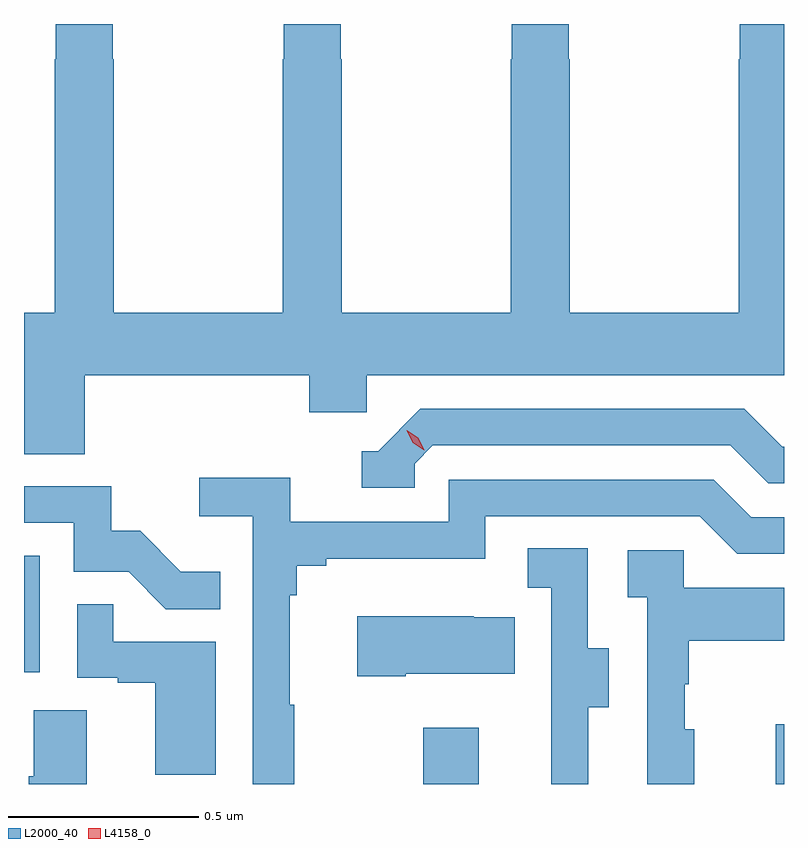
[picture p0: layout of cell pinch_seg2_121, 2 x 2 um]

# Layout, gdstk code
import gdstk
lib = gdstk.Library(unit=1e-6, precision=1e-09)
def R(c, l, rs):  # rectangles x0, y0, x1, y1
    for r in rs: c.add(gdstk.rectangle(r[:2], r[2:], *l))
def P(c, l, *ps):  # polygons
    for p in ps: c.add(gdstk.Polygon(p, *l))
L2000_40 = (2000, 40)
L4158_0 = (4158, 0)

pinch_seg2_121 = lib.new_cell('pinch_seg2_121')
R(pinch_seg2_121, L2000_40, [(1032.292,638.568,1032.439,638.716), (1033.22,638.568,1033.242,638.725), (1031.242,638.862,1031.284,639.169)])
P(pinch_seg2_121, L2000_40, [(1031.402,639.644),(1031.993,639.644),(1031.993,639.546),(1032.144,639.546),(1032.144,639.644),(1033.242,639.644),(1033.242,640.568),(1033.125,640.568),(1033.125,640.475),(1033.123,640.475),(1033.123,639.808),(1032.678,639.808),(1032.678,640.475),(1032.675,640.475),(1032.675,640.568),(1032.525,640.568),(1032.525,640.475),(1032.523,640.475),(1032.523,639.808),(1032.078,639.808),(1032.078,640.475),(1032.075,640.475),(1032.075,640.568),(1031.925,640.568),(1031.925,640.475),(1031.923,640.475),(1031.923,639.808),(1031.478,639.808),(1031.478,640.475),(1031.475,640.475),(1031.475,640.568),(1031.325,640.568),(1031.325,640.475),(1031.323,640.475),(1031.323,639.808),(1031.242,639.808),(1031.242,639.436),(1031.402,639.436)],
  [(1032.27,639.411),(1032.318,639.459),(1033.101,639.459),(1033.2,639.36),(1033.242,639.36),(1033.242,639.456),(1033.237,639.456),(1033.138,639.555),(1032.285,639.555),(1032.174,639.444),(1032.131,639.444),(1032.131,639.348),(1032.27,639.348)],
  [(1031.953,638.777),(1031.941,638.777),(1031.941,639.065),(1031.96,639.065),(1031.96,639.142),(1032.037,639.142),(1032.037,639.161),(1032.456,639.161),(1032.456,639.273),(1033.02,639.273),(1033.119,639.174),(1033.242,639.174),(1033.242,639.27),(1033.156,639.27),(1033.057,639.369),(1032.36,639.369),(1032.36,639.258),(1031.942,639.258),(1031.942,639.374),(1031.703,639.374),(1031.703,639.272),(1031.844,639.272),(1031.844,638.568),(1031.953,638.568)],
  [(1031.759,639.127),(1031.655,639.127),(1031.548,639.234),(1031.472,639.234),(1031.472,639.351),(1031.242,639.351),(1031.242,639.255),(1031.373,639.255),(1031.373,639.126),(1031.517,639.126),(1031.615,639.028),(1031.759,639.028)],
  [(1032.727,638.77),(1032.781,638.77),(1032.781,638.925),(1032.726,638.925),(1032.726,639.188),(1032.567,639.188),(1032.567,639.085),(1032.63,639.085),(1032.63,638.781),(1032.629,638.781),(1032.629,638.568),(1032.727,638.568)],
  [(1033.006,638.712),(1032.981,638.712),(1032.981,638.831),(1032.991,638.831),(1032.991,638.945),(1033.242,638.945),(1033.242,639.085),(1032.978,639.085),(1032.978,639.183),(1032.831,639.183),(1032.831,639.059),(1032.882,639.059),(1032.882,638.568),(1033.006,638.568)],
  [(1031.746,638.943),(1031.477,638.943),(1031.477,639.041),(1031.382,639.041),(1031.382,638.847),(1031.489,638.847),(1031.489,638.835),(1031.588,638.835),(1031.588,638.592),(1031.746,638.592)],
  [(1032.247,638.858),(1032.533,638.858),(1032.533,639.007),(1032.425,639.007),(1032.425,639.01),(1032.119,639.01),(1032.119,638.851),(1032.247,638.851)],
  [(1031.407,638.762),(1031.267,638.762),(1031.267,638.588),(1031.255,638.588),(1031.255,638.568),(1031.407,638.568)])
P(pinch_seg2_121, L4158_0, [(1032.295,639.446),(1032.265,639.466),(1032.249,639.499),(1032.249,639.499),(1032.249,639.499),(1032.28,639.479),(1032.295,639.446),(1032.295,639.446)])

lib.write_gds('pinch_seg2_121.gds')
